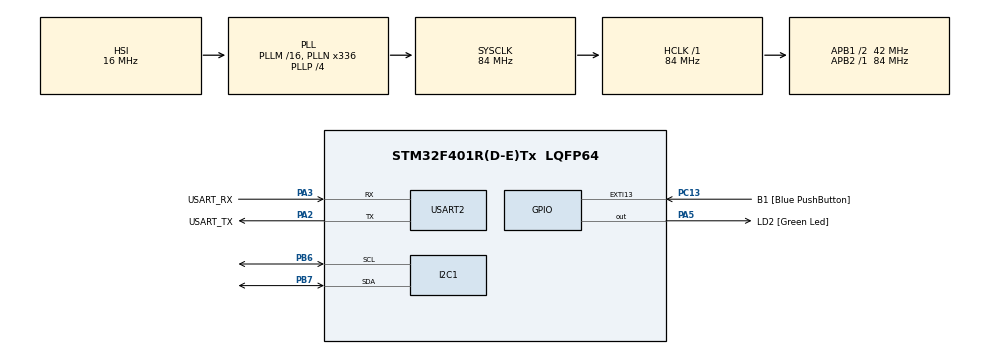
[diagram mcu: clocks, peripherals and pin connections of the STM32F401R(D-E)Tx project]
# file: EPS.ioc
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Mcu.Family=STM32F4
Mcu.Name=STM32F401R(D-E)Tx
Mcu.Package=LQFP64
NVIC.PriorityGroup=NVIC_PRIORITYGROUP_0
PA13.GPIO_Label=TMS
PA13.Signal=SYS_JTMS-SWDIO
PA14.GPIO_Label=TCK
PA14.Signal=SYS_JTCK-SWCLK
PA2.GPIO_Label=USART_TX
PA2.GPIO_Mode=GPIO_MODE_AF_PP
PA2.GPIO_PuPd=GPIO_NOPULL
PA2.GPIO_Speed=GPIO_SPEED_FREQ_LOW
PA2.Mode=Asynchronous
PA2.Signal=USART2_TX
PA3.GPIO_Label=USART_RX
PA3.GPIO_Mode=GPIO_MODE_AF_PP
PA3.GPIO_PuPd=GPIO_NOPULL
PA3.GPIO_Speed=GPIO_SPEED_FREQ_LOW
PA3.Mode=Asynchronous
PA3.Signal=USART2_RX
PA5.GPIO_Label=LD2 [Green Led]
PA5.GPIO_Mode=GPIO_MODE_OUTPUT_PP
PA5.GPIO_PuPd=GPIO_NOPULL
PA5.GPIO_Speed=GPIO_SPEED_FREQ_LOW
PA5.Signal=GPIO_Output
PB3.GPIO_Label=SWO
PB3.Signal=SYS_JTDO-SWO
PB6.Mode=I2C
PB6.Signal=I2C1_SCL
PB7.Mode=I2C
PB7.Signal=I2C1_SDA
PC13-ANTI_TAMP.GPIO_Label=B1 [Blue PushButton]
PC13-ANTI_TAMP.GPIO_ModeDefaultEXTI=GPIO_MODE_IT_FALLING
PC13-ANTI_TAMP.GPIO_PuPd=GPIO_NOPULL
PC13-ANTI_TAMP.Signal=GPXTI13
PC14-OSC32_IN.Signal=RCC_OSC32_IN
PC15-OSC32_OUT.Signal=RCC_OSC32_OUT
PH0\ -\ OSC_IN.Signal=RCC_OSC_IN
PH1\ -\ OSC_OUT.Signal=RCC_OSC_OUT
ProjectManager.HeapSize=0x200
ProjectManager.StackSize=0x400
ProjectManager.TargetToolchain=SW4STM32
RCC.AHBFreq_Value=84000000
RCC.APB1CLKDivider=RCC_HCLK_DIV2
RCC.APB1Freq_Value=42000000
RCC.APB1TimFreq_Value=84000000
RCC.APB2Freq_Value=84000000
RCC.APB2TimFreq_Value=84000000
RCC.CortexFreq_Value=84000000
RCC.HCLKFreq_Value=84000000
RCC.HSE_VALUE=8000000
RCC.HSI_VALUE=16000000
RCC.LSE_VALUE=32768
RCC.PLLN=336
RCC.PLLP=RCC_PLLP_DIV4
RCC.PLLQ=7
RCC.SYSCLKFreq_VALUE=84000000
RCC.SYSCLKSource=RCC_SYSCLKSOURCE_PLLCLK
RCC.VCOOutputFreq_Value=336000000
USART2.VirtualMode=VM_ASYNC
board=NUCLEO-F401RE

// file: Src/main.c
/**
  ******************************************************************************
  * File Name          : main.c
  * Description        : Main program body
  ******************************************************************************
  ** This notice applies to any and all portions of this file
  * that are not between comment pairs USER CODE BEGIN and
  * USER CODE END. Other portions of this file, whether
  * inserted by the user or by software development tools
  * are owned by their respective copyright owners.
  *
  * COPYRIGHT(c) 2018 STMicroelectronics
  *
  * Redistribution and use in source and binary forms, with or without modification,
  * are permitted provided that the following conditions are met:
  *   1. Redistributions of source code must retain the above copyright notice,
  *      this list of conditions and the following disclaimer.
  *   2. Redistributions in binary form must reproduce the above copyright notice,
  *      this list of conditions and the following disclaimer in the documentation
  *      and/or other materials provided with the distribution.
  *   3. Neither the name of STMicroelectronics nor the names of its contributors
  *      may be used to endorse or promote products derived from this software
  *      without specific prior written permission.
  *
  * THIS SOFTWARE IS PROVIDED BY THE COPYRIGHT HOLDERS AND CONTRIBUTORS "AS IS"
  * AND ANY EXPRESS OR IMPLIED WARRANTIES, INCLUDING, BUT NOT LIMITED TO, THE
  * IMPLIED WARRANTIES OF MERCHANTABILITY AND FITNESS FOR A PARTICULAR PURPOSE ARE
  * DISCLAIMED. IN NO EVENT SHALL THE COPYRIGHT HOLDER OR CONTRIBUTORS BE LIABLE
  * FOR ANY DIRECT, INDIRECT, INCIDENTAL, SPECIAL, EXEMPLARY, OR CONSEQUENTIAL
  * DAMAGES (INCLUDING, BUT NOT LIMITED TO, PROCUREMENT OF SUBSTITUTE GOODS OR
  * SERVICES; LOSS OF USE, DATA, OR PROFITS; OR BUSINESS INTERRUPTION) HOWEVER
  * CAUSED AND ON ANY THEORY OF LIABILITY, WHETHER IN CONTRACT, STRICT LIABILITY,
  * OR TORT (INCLUDING NEGLIGENCE OR OTHERWISE) ARISING IN ANY WAY OUT OF THE USE
  * OF THIS SOFTWARE, EVEN IF ADVISED OF THE POSSIBILITY OF SUCH DAMAGE.
  *
  ******************************************************************************
  */

#include "main.h"
#include "stm32f4xx_hal.h"

I2C_HandleTypeDef hi2c1;

UART_HandleTypeDef huart2;

/* USER CODE BEGIN PV */
/* Private variables ---------------------------------------------------------*/

//I2C Addresses for EPS and Battery
#define EPS_ADDRESS 0x2B
#define BAT_ADDRESS 0x54

//Common Commands
#define DEFAULT_DATA 0x00
#define GET_STATUS 0x01
#define GET_ERROR 0x03
#define GET_VERSION 0x04
#define GET_CHECKSUM 0x05
#define GET_TELEMETRY 0x10
#define GET_BROWNOUT_RESETS 0x31
#define GET_AUTO_SOFTWARE_RESETS 0x32
#define GET_MANUAL_RESETS 0x33
#define MANUAL_RESET 0x80

//EPS Commands
#define EPS_GET_WATCHDOG_PERIOD 0x20
#define EPS_SET_WATCHDOG_PERIOD 0x21
#define EPS_RESET_WATCHDOG 0x22
#define EPS_GET_WATCHDOG_RESETS 0x34
#define EPS_ALLPDM_ON 0x40
#define EPS_ALLPDM_OFF 0x41
#define EPS_GET_ALLPDM_STATE 0x42
#define EPS_GET_ALLPDM_INITIAL_STATE 0x44
#define EPS_SET_ALLPDM_TO_INITIAL_STATE 0x45
#define EPS_SET_PDM_ON 0x50
#define EPS_SET_PDM_OFF 0x51
#define EPS_SET_PDM_INITIAL_STATE_ON 0x52
#define EPS_SET_PDM_INITIAL_STATE_OFF 0x53
#define EPS_GET_PDM_STATUS 0x54
#define EPS_PCM_RESET 0x70

//EPS Get Telemetry Commands
#define I_IDIODE 0xE284
#define V_IDIODE 0xE280
#define I_3V3_DRW 0xE205
#define I_5V_DRW 0xE215
#define I_PCM12V 0xE234
#define V_PCM12V 0xE230
#define I_PCMBATV 0xE224
#define V_PCMBATV 0xE220
#define I_PCM5V 0xE214
#define V_PCM5V 0xE210
#define I_PCM3V3 0xE204
#define V_PCM3V3 0xE200

#define V_SW1 0xE410
#define I_SW1 0xE414
#define V_SW2 0xE420
#define I_SW2 0xE424
#define V_SW3 0xE430
#define I_SW3 0xE434
#define V_SW4 0xE440
#define I_SW4 0xE444
#define V_SW5 0xE440
#define I_SW5 0xE454
#define V_SW6 0xE460
#define I_SW6 0xE464
#define V_SW7 0xE470
#define I_SW7 0xE474
#define V_SW8 0xE480
#define I_SW8 0xE484
#define V_SW9 0xE490
#define I_SW9 0xE494
#define V_SW10 0xE4A0
#define I_SW10 0xE4A4
#define MBRD_TEMP 0xE308

#define V_BCR1 0xE110
#define I_BCR1A 0xE114
#define I_BCR1B 0xE115
#define BCR1A_TEMP 0xE118
#define BCR1B_TEMP 0xE119
#define BCR1A_SUN_DETECT 0xE11C
#define BCR1B_SUN_DETECT 0xE11D

#define V_BCR2 0xE120
#define I_BCR2A 0xE124
#define I_BCR2B 0xE125
#define BCR2A_TEMP 0xE128
#define BCR2B_TEMP 0xE129
#define BCR2A_SUN_DETECT 0xE12C
#define BCR2B_SUN_DETECT 0xE12D

#define V_BCR3 0xE130
#define I_BCR3A 0xE134
#define I_BCR3B 0xE135
#define BCR3A_TEMP 0xE138
#define BCR3B_TEMP 0xE139
#define BCR3A_SUN_DETECT 0xE13C
#define BCR3B_SUN_DETECT 0xE13D

//BAT Commands
#define BAT_GET_HEATER_CONTROLLER_STATUS 0x90
#define BAT_SET_HEATER_CONTROLLER_STATUS 0x91
#define HEATER_OFF 0x00
#define HEATER_ON 0x01

//BAT Telemetry Commands
#define V_BAT 0xE280
#define I_BAT 0xE284
#define I_DIR_BAT 0xE28E
#define MBRD_TMP 0xE308
#define I_PCM5V 0xE214
#define V_PCM5V 0xE210
#define I_PCM3V3 0xE204
#define V_PCM3V3 0xE200
#define DBAT1_TEMP 0xE398
#define DBAT1_HEATER_STATUS 0xE239F
#define DBAT2_TEMP 0xE3A8
#define DBAT2_HEATER_STATUS 0xE3AF
#define DBAT3_TEMP 0xE3B8
#define DBAT3_HEATER_STATUS 0xE3CF

/* USER CODE END PV */

void SystemClock_Config(void);
static void MX_GPIO_Init(void);
static void MX_USART2_UART_Init(void);
static void MX_I2C1_Init(void);

/* USER CODE BEGIN PFP */
/* Private function prototypes -----------------------------------------------*/
void getStatus(uint8_t address, uint8_t data_received[]);
void sendCommand(uint8_t address, uint8_t command, uint8_t data_sent, uint8_t data_received[], uint8_t bytes_received, int delay);
void getError(uint8_t address, uint8_t data_received[]);
void getTelemetry(uint8_t address, uint8_t data1, uint8_t data0, uint8_t data_received[], uint8_t bytes_received);
void manualReset(uint8_t address);
void convertCommand(uint16_t to_convert, uint8_t converted[]);
double convertEPSADC(uint8_t ADCdata[], uint16_t telem_code);
double convertBATADC(uint8_t ADCdata[], uint16_t telem_code);

/* USER CODE END PFP */

int main(void)
{

  /* MCU Configuration----------------------------------------------------------*/

  /* Reset of all peripherals, Initializes the Flash interface and the Systick. */
  HAL_Init();

  /* Configure the system clock */
  SystemClock_Config();

  /* Initialize all configured peripherals */
  MX_GPIO_Init();
  MX_USART2_UART_Init();
  MX_I2C1_Init();

  /* Infinite loop */
  while (1)
  {

  /* USER CODE BEGIN 3 */

	  uint8_t returnData[4] = {0,0,0,0};
	  uint8_t data1 = 0;
	  uint8_t data0 = 0;
	  uint8_t command = 0;
	  uint8_t select = 0;
	  uint16_t address= 0 ;
	  uint8_t returnBytes = 0;
	  uint8_t delay = 0;

	  while(HAL_UART_Receive(&huart2, (uint8_t*)&select, 1, 50) != HAL_OK);
	  HAL_UART_Transmit(&huart2, (uint8_t*)&select, 1, 50);
	  while(HAL_UART_Receive(&huart2,(uint8_t *)&address, 2, 50) != HAL_OK);
	  HAL_UART_Transmit(&huart2, (uint8_t *)&address, 2, 50);
	  //Read Select and Address

	  if (select == 's'){
		  getStatus(address, returnData);
		  /*
		  Testing code
		  uint8_t data0 = 0x10;
		  uint8_t data1 = 0xE2;
		  uint8_t data2= 0x80;
		  HAL_I2C_Master_Transmit(&hi2c1, 0x54, (uint8_t*)&data0, 1, 50);
		  HAL_I2C_Master_Transmit(&hi2c1, 0x54, (uint8_t*)&data1, 1, 50);
		  HAL_I2C_Master_Transmit(&hi2c1, 0x54, (uint8_t*)&data2, 1, 50);
		  HAL_Delay(15);

		  HAL_I2C_Master_Receive(&hi2c1, 0x54, returnData, 2, 50);
		  uint16_t received = (uint16_t)((returnData[0] + (returnData[1]*256))* 0.008993);
		  uint8_t send= 0b01000010;
		  HAL_UART_Transmit(&huart2, (uint8_t*)&send, 1, 50);
		   */
	  }

	  else if (select == 'e'){

		  getError(address,returnData);

	  }

	  else if (select == 'r'){

		  manualReset(address);
	  }

	  else if (select == 't'){

		  while(HAL_UART_Receive(&huart2, (uint8_t*)&data1, 1, 50) != HAL_OK);
		  HAL_UART_Transmit(&huart2, (uint8_t*)&data1, 1, 50);
		  while(HAL_UART_Receive(&huart2,(uint8_t *)&data0, 1, 50) != HAL_OK);
		  HAL_UART_Transmit(&huart2, (uint8_t *)&data0, 1, 50);

		  //Read command,data1,data0,returnbytes,delay
		  uint16_t convertedADC;

		  getTelemetry(address,data1,data0,returnData,2);

		  if (address == EPS_ADDRESS){
			  //convertedADC = convertEPSADC(returnData,data1,data0);
		  }
		  else if (address == BAT_ADDRESS) {
			 // convertedADC = convertBATADC(returnData,data1,data0);
		  }

		  HAL_UART_Transmit(&huart2, (uint8_t *)&convertedADC, 2, 50);
	  }

	  else if (select == 'c'){
		  // Read command,data1,returnbytes,delay
		  while(HAL_UART_Receive(&huart2, (uint8_t*)&data1, 2, 50) != HAL_OK);
		  HAL_UART_Transmit(&huart2, (uint8_t*)&data1, 2, 50);
		  while(HAL_UART_Receive(&huart2,(uint8_t *)&returnBytes, 2, 50) != HAL_OK);
		  HAL_UART_Transmit(&huart2, (uint8_t *)&returnBytes, 2, 50);
		  while(HAL_UART_Receive(&huart2,(uint8_t *)&delay, 4, 50) != HAL_OK);
		  HAL_UART_Transmit(&huart2, (uint8_t *)&delay, 4, 50);

		  sendCommand(address,command,data1,returnData,returnBytes,delay);

	  }
	  else if (select == 'p'){
		  // Read Timer Limit and PDM

	  }

	  else {
		  // command not recognized
	  }
  }
  /* USER CODE END 3 */

}

/** System Clock Configuration
*/
void SystemClock_Config(void)
{
  RCC_OscInitTypeDef RCC_OscInitStruct;
  RCC_ClkInitTypeDef RCC_ClkInitStruct;

    /**Configure the main internal regulator output voltage
    */
  __HAL_RCC_PWR_CLK_ENABLE();

  __HAL_PWR_VOLTAGESCALING_CONFIG(PWR_REGULATOR_VOLTAGE_SCALE2);

    /**Initializes the CPU, AHB and APB busses clocks
    */
  RCC_OscInitStruct.OscillatorType = RCC_OSCILLATORTYPE_HSI;
  RCC_OscInitStruct.HSIState = RCC_HSI_ON;
  RCC_OscInitStruct.HSICalibrationValue = 16;
  RCC_OscInitStruct.PLL.PLLState = RCC_PLL_ON;
  RCC_OscInitStruct.PLL.PLLSource = RCC_PLLSOURCE_HSI;
  RCC_OscInitStruct.PLL.PLLM = 16;
  RCC_OscInitStruct.PLL.PLLN = 336;
  RCC_OscInitStruct.PLL.PLLP = RCC_PLLP_DIV4;
  RCC_OscInitStruct.PLL.PLLQ = 7;
  if (HAL_RCC_OscConfig(&RCC_OscInitStruct) != HAL_OK)
  {
    _Error_Handler(__FILE__, __LINE__);
  }

    /**Initializes the CPU, AHB and APB busses clocks     */
  RCC_ClkInitStruct.ClockType = RCC_CLOCKTYPE_HCLK|RCC_CLOCKTYPE_SYSCLK
                              |RCC_CLOCKTYPE_PCLK1|RCC_CLOCKTYPE_PCLK2;
  RCC_ClkInitStruct.SYSCLKSource = RCC_SYSCLKSOURCE_PLLCLK;
  RCC_ClkInitStruct.AHBCLKDivider = RCC_SYSCLK_DIV1;
  RCC_ClkInitStruct.APB1CLKDivider = RCC_HCLK_DIV2;
  RCC_ClkInitStruct.APB2CLKDivider = RCC_HCLK_DIV1;

  if (HAL_RCC_ClockConfig(&RCC_ClkInitStruct, FLASH_LATENCY_2) != HAL_OK)
  {
    _Error_Handler(__FILE__, __LINE__);
  }

    /**Configure the Systick interrupt time
    */
  HAL_SYSTICK_Config(HAL_RCC_GetHCLKFreq()/1000);

    /**Configure the Systick
    */
  HAL_SYSTICK_CLKSourceConfig(SYSTICK_CLKSOURCE_HCLK);

  /* SysTick_IRQn interrupt configuration */
  HAL_NVIC_SetPriority(SysTick_IRQn, 0, 0);
}

/* I2C1 init function */
static void MX_I2C1_Init(void)
{

  hi2c1.Instance = I2C1;
  hi2c1.Init.ClockSpeed = 100000;
  hi2c1.Init.DutyCycle = I2C_DUTYCYCLE_2;
  hi2c1.Init.OwnAddress1 = 0;
  hi2c1.Init.AddressingMode = I2C_ADDRESSINGMODE_7BIT;
  hi2c1.Init.DualAddressMode = I2C_DUALADDRESS_DISABLE;
  hi2c1.Init.OwnAddress2 = 0;
  hi2c1.Init.GeneralCallMode = I2C_GENERALCALL_DISABLE;
  hi2c1.Init.NoStretchMode = I2C_NOSTRETCH_DISABLE;
  if (HAL_I2C_Init(&hi2c1) != HAL_OK)
  {
    _Error_Handler(__FILE__, __LINE__);
  }

}

/* USART2 init function */
static void MX_USART2_UART_Init(void)
{

  huart2.Instance = USART2;
  huart2.Init.BaudRate = 115200;
  huart2.Init.WordLength = UART_WORDLENGTH_8B;
  huart2.Init.StopBits = UART_STOPBITS_1;
  huart2.Init.Parity = UART_PARITY_NONE;
  huart2.Init.Mode = UART_MODE_TX_RX;
  huart2.Init.HwFlowCtl = UART_HWCONTROL_NONE;
  huart2.Init.OverSampling = UART_OVERSAMPLING_16;
  if (HAL_UART_Init(&huart2) != HAL_OK)
  {
    _Error_Handler(__FILE__, __LINE__);
  }

}

/** Configure pins as
        * Analog
        * Input
        * Output
        * EVENT_OUT
        * EXTI
*/
static void MX_GPIO_Init(void)
{

  GPIO_InitTypeDef GPIO_InitStruct;

  /* GPIO Ports Clock Enable */
  __HAL_RCC_GPIOC_CLK_ENABLE();
  __HAL_RCC_GPIOH_CLK_ENABLE();
  __HAL_RCC_GPIOA_CLK_ENABLE();
  __HAL_RCC_GPIOB_CLK_ENABLE();

  /*Configure GPIO pin Output Level */
  HAL_GPIO_WritePin(LD2_GPIO_Port, LD2_Pin, GPIO_PIN_RESET);

  /*Configure GPIO pin : B1_Pin */
  GPIO_InitStruct.Pin = B1_Pin;
  GPIO_InitStruct.Mode = GPIO_MODE_IT_FALLING;
  GPIO_InitStruct.Pull = GPIO_NOPULL;
  HAL_GPIO_Init(B1_GPIO_Port, &GPIO_InitStruct);

  /*Configure GPIO pin : LD2_Pin */
  GPIO_InitStruct.Pin = LD2_Pin;
  GPIO_InitStruct.Mode = GPIO_MODE_OUTPUT_PP;
  GPIO_InitStruct.Pull = GPIO_NOPULL;
  GPIO_InitStruct.Speed = GPIO_SPEED_FREQ_LOW;
  HAL_GPIO_Init(LD2_GPIO_Port, &GPIO_InitStruct);

}

/* USER CODE BEGIN 4 */

/*
 * 	Purpose:
 * 	This function will get the current status of either the EPS or Battery module
 *
 *	Reference:
 *	Section 12.4.1 for Battery, 11.3 for EPS
 *
 * 	Parameters:
 * 		address - target address (either EPS or Battery)
 * 		data_received - array to hold received bytes
 */
void getStatus(uint8_t address, uint8_t data_received[]) {
	uint8_t command = GET_STATUS;
	uint8_t data1 = DEFAULT_DATA;

	while(HAL_I2C_Master_Transmit(&hi2c1, (uint16_t) address<<1, (uint8_t*)&command, 1, 50) != HAL_OK);
	while(HAL_I2C_Master_Transmit(&hi2c1, (uint16_t) address<<1, (uint8_t*)&data1, 1, 50) != HAL_OK);
	HAL_Delay(1);

	while(HAL_I2C_Master_Receive(&hi2c1, (uint16_t) (address<<1) | 0x01, data_received, 2, 50) != HAL_OK);
}

/*
 * 	Purpose:
 *	This function will send a command to either the EPS or Battery module to request data
 *
 *	Reference:
 * 	Section 12 for Battery, 11 for EPS
 *
 *	Parameters:
 *		address : target address (either EPS or Battery)
 *		command : request command to send
 *		data_sent : additional data byte to be sent along with the command
 *		data_received : array to hold received bytes
 *		bytes_received: number of bytes to request from the module
 *		delay: delay required before a response can be requested, in milliseconds
 */
void sendCommand(uint8_t address, uint8_t command, uint8_t data_sent, uint8_t data_received[], uint8_t bytes_received, int delay){
	while( HAL_I2C_Master_Transmit(&hi2c1, (uint16_t) address<<1, (uint8_t*) &command, 1, 50) != HAL_OK );
	while( HAL_I2C_Master_Transmit(&hi2c1, (uint16_t) address<<1, (uint8_t*) &data_sent, 1, 50) != HAL_OK );

	HAL_Delay(delay);

	if(bytes_received != 0){
		while( HAL_I2C_Master_Receive(&hi2c1, (uint16_t) (address<<1) | 0x01, data_received, (uint16_t) bytes_received, 50) != HAL_OK);
	}
}

/*
 * 	Purpose:
 * 	This function will get the last error message of either the EPS or Batt module
 *
 * 	Reference:
 * 	Section 12.4.2 for Battery, 11.3 for EPS.
 *
 * 	Parameters:
 * 		address - target address (either EPS or Battery)
 * 		data_received - array to hold received bytes
 */
void getError(uint8_t address, uint8_t data_received[]) {
	uint8_t command = GET_ERROR;
	uint8_t data1 = DEFAULT_DATA;

	while( HAL_I2C_Master_Transmit(&hi2c1,  (uint16_t) address<<1, (uint8_t*)&command, 2, 50) != HAL_OK );
	while( HAL_I2C_Master_Transmit(&hi2c1,  (uint16_t) address<<1, (uint8_t*)&data1, 2, 50) != HAL_OK );

	HAL_Delay(1);

	while( HAL_I2C_Master_Receive(&hi2c1,  (uint16_t) (address<<1) | 0x01, data_received, (uint16_t) 2, (uint32_t) 50) != HAL_OK);
}

/* 	Purpose:
 * 	This function will retrieve a specific piece of telemetry information for either the battery or EPS module
 *
 * 	Reference:
 * 	Section 12.6 for Battery, 11.4 for EPS
 *
 * 	Parameters:
 * 		address: target address (either EPS or Battery)
 * 		command: telemetry request command (0x10)
 * 		data1: first telemetry code to send
 * 		data0: second telemetry code to send
 * 		data_received: array to hold received bytes
 * 		bytes_received: number of bytes to request from the module
 */
void getTelemetry(uint8_t address, uint8_t data1, uint8_t data0, uint8_t data_received[], uint8_t bytes_received){
	uint8_t command = GET_TELEMETRY;

	while( HAL_I2C_Master_Transmit(&hi2c1,  (uint16_t) address<<1, (uint8_t*)&command, 1, 50) != HAL_OK );
	while( HAL_I2C_Master_Transmit(&hi2c1,  (uint16_t) address<<1, (uint8_t*)&data1, 1,  50) != HAL_OK );
	while( HAL_I2C_Master_Transmit(&hi2c1,  (uint16_t) address<<1, (uint8_t*)&data0, 1, 50) != HAL_OK );
	HAL_Delay(15);

	if(bytes_received != 0){
		while( HAL_I2C_Master_Receive(&hi2c1,  (uint16_t) (address<<1) | 0x01, data_received, (uint16_t)bytes_received, 50) != HAL_OK);
	}
}

/*
 * 	Purpose:
 * 	This function will manually reset either the EPS or Batt module
 *
 * 	Reference:
 * 	Section 12.4.5 for Battery, 11.3 for EPS
 *
 * 	Parameters:
 * 		address - the target I2C Address. Either EPS or Batt in this case
 */
void manualReset(uint8_t address){
	uint8_t command = MANUAL_RESET;
	uint8_t data0 = DEFAULT_DATA;

	while( HAL_I2C_Master_Transmit(&hi2c1, (uint16_t) address<<1, (uint8_t*)&command, 2, 50) != HAL_OK );
	while( HAL_I2C_Master_Transmit(&hi2c1, (uint16_t) address<<1, (uint8_t*)&data0, 2, 50) != HAL_OK );
}

/*
 * 	Purpose:
 * 	Converts raw ADC values into proper values through equations found on battery datasheet
 *
 * 	Parameters:
 * 		ADCdata: - raw ADC value given from the EPS or BAT module
 * 		telem_code - two byte integer representing which telemetry was gathered
 *
 * 	Return:
 * 		converted: The converted ADC value
 */
double convertBATADC(uint8_t ADCdata[], uint16_t telem_code) {
	uint16_t adcResponse = (uint16_t)ADCdata[0] + ((uint16_t)ADCdata[1] * 256);
	double converted = 0.0;

	switch (telem_code) {
		case 0xE280: //battery output voltage
	      converted = adcResponse * 0.008993;
	      break;
	    case 0xE284: //battery current magnitude
	      converted = adcResponse * 14.662757;
	      break;
	    case 0xE28E: //battery current direction
	      if (adcResponse < 512)
	        converted = 1.0;
	      else
	        converted = 0.0;
	      break;
	    case 0xE308: //motherboard temperature
	      converted = 0.372434 * adcResponse - 273.15;
	      break;
	    case 0xE214: //current draw of 5V bus
	      converted = 1.327547 * adcResponse;
	      break;
	    case 0xE210: //output voltage of 5V bus
	      converted = 0.005965 * adcResponse;
	      break;
	    case 0xE204: //current draw of 3.3V bus
	      converted = 1.327547 * adcResponse;
	      break;
	    case 0xE200: //output voltage of 3.3V bus
	      converted = 0.004311 * adcResponse;
	      break;
	    case 0xE398: //daughterboard 1 temperature
	      converted = 0.397600 * adcResponse - 238.57;
	      break;
	    case 0xE39F: //daughterboard 1 heater status
	      if (adcResponse < 512)
	        converted = 1.0;
	      else
	        converted = 0.0;
	      break;
	    case 0xE3A8: //daughterboard 2 temperature
	      converted = 0.397600 * adcResponse - 238.57;
	      break;
	    case 0xE3AF: //daughterboard 2 heater status
	      if (adcResponse < 512)
	        converted = 1.0;
	      else
	        converted = 0.0;
	      break;
	    case 0xE3B8: //daughterboard 3 temperature
	      converted = 0.397600 * adcResponse - 238.57;
	      break;
	    case 0xE3BF: //daughterboard 3 heater status
	      if (adcResponse < 512)
	        converted = 1.0;
	      else
	        converted = 0.0;
	      break;
	    default:
	      converted = 0.0;
	      break;
	}

	return converted;
}

/*
 * 	Purpose:
 * 	Converts raw ADC values into proper values through equations found on EPS datasheet
 *
 * 	Parameters:
 * 		ADCdata: - raw ADC value given from the EPS or BAT module
 * 		telem_code - two byte integer representing which telemetry was gathered
 *
 * 	Return:
 * 		converted: The converted ADC value
 */
double convertEPSADC(uint8_t ADCdata[], uint16_t telem_code){
	uint16_t adcResponse = (uint16_t)ADCdata[0] + ((uint16_t)ADCdata[1] * 256);
	double converted = 0;

	switch (telem_code) {
		case 0xE284: //BCR output current
	      converted = 14.662757 * adcResponse;
	      break;
	    case 0xE280: //BCR output voltage
	      converted = 0.008993157 * adcResponse;
	      break;
	    case 0xE205: //3.3V current draw
	      converted = 0.001327547 * adcResponse;
	      break;
	    case 0xE215: //5V current draw
	      converted = 0.001327547 * adcResponse;
	      break;
	    case 0xE234: //output current of 12V bus
	      converted = 0.00207 * adcResponse;
	      break;
	    case 0xE230: //output voltage of 12V bus
	      converted = 0.01349 * adcResponse;
	      break;
	    case 0xE224: //output current of battery bus
	      converted = 0.005237 * adcResponse;
	      break;
	    case 0xE220: //output voltage of battery bus
	      converted = 0.008978 * adcResponse;
	      break;
	    case 0xE214: //output current of 5V bus
	      converted = 0.005237 * adcResponse;
	      break;
	    case 0xE210: //output voltage of 5V bus
	      converted = 0.005865 * adcResponse;
	      break;
	    case 0xE204: //output current of 3.3V bus
	      converted = 0.005237 * adcResponse;
	      break;
	    case 0xE200: //output voltage of 3.3V bus
	      converted = 0.004311 * adcResponse;
	      break;
	    case 0xE410: //output voltage switch 1
	      converted = 0.01349 * adcResponse;
	      break;
	    case 0xE414: //output current switch 1
	      converted = 0.001328 * adcResponse;
	      break;
	    case 0xE420: //output voltage switch 2
	      converted = 0.01349 * adcResponse;
	      break;
	    case 0xE424: //output current switch 2
	      converted = 0.001328 * adcResponse;
	      break;
	    case 0xE430: //output voltage switch 3
	      converted = 0.008993 * adcResponse;
	      break;
	    case 0xE434: //output current switch 3
	      converted = 0.001328 * adcResponse;
	      break;
	    case 0xE440: //output voltage switch 4
	      converted = 0.008993 * adcResponse;
	      break;
	    case 0xE444: //output current switch 4
	      converted = 0.001328 * adcResponse;
	      break;
	    case 0xE450: //output voltage switch 5
	      converted = 0.005865 * adcResponse;
	      break;
	    case 0xE454: //output current switch 5
	      converted = 0.001328 * adcResponse;
	      break;
	    case 0xE460: //output voltage switch 6
	      converted = 0.005865 * adcResponse;
	      break;
	    case 0xE464: //output current switch 6
	      converted = 0.001328 * adcResponse;
	      break;
	    case 0xE470: //output voltage switch 7
	      converted = 0.005865 * adcResponse;
	      break;
	    case 0xE474: //output current switch 7
	      converted = 0.001328 * adcResponse;
	      break;
	    case 0xE480: //output voltage switch 8
	      converted = 0.004311 * adcResponse;
	      break;
	    case 0xE484: //output current switch 8
	      converted = 0.001328 * adcResponse;
	      break;
	    case 0xE490: //output voltage switch 9
	      converted = 0.004311 * adcResponse;
	      break;
	    case 0xE494: //output current switch 9
	      converted = 0.001328 * adcResponse;
	      break;
	    case 0xE4A0: //output voltage switch 10
	      converted = 0.004311 * adcResponse;
	      break;
	    case 0xE4A4: //output current switch 10
	      converted = 0.001328 * adcResponse;
	      break;
	    case 0xE308: //motherboard temperature
	      converted = 0.372434 * adcResponse - 273.15;
	      break;
	    case 0xE110: //voltage feeding BCR1
	      converted = 0.0249 * adcResponse;
	      break;
	    case 0xE114: //current BCR1, connector SA1A
	      converted = 0.0009775 * adcResponse;
	      break;
	    case 0xE115: //current BCR1, connector SA1B
	      converted = 0.0009775 * adcResponse;
	      break;
	    case 0xE120: //voltage feeding BCR2
	      converted = 0.0249 * adcResponse;
	      break;
	    case 0xE124: //current BCR2, connector SA2A
	      converted = 0.0009775 * adcResponse;
	      break;
	    case 0xE125: //current BCR2, connector SA2B
	      converted = 0.0009775 * adcResponse;
	      break;
	    case 0xE130: //voltage feeding BCR3
	      converted = 0.0099706 * adcResponse;
	      break;
	    case 0xE134: //current BCR3, connector SA3A
	      converted = 0.0009775 * adcResponse;
	      break;
	    case 0xE135: //current BCR3, connector SA3B
	      converted = 0.0009775 * adcResponse;
	      break;
	    default:
	      converted = 0.0;
	      break;
	}
	return converted;
}

/*
 * 	Purpose:
 * 	Take in a two byte integer and convert it to two one byte integers.
 *
 * 	Parameters:
 * 		to_convert - two byte integer to convert
 * 		converted - points to the now split two byte integer,
 * 					the first integer is data0, the second is data1
 */
void convertCommand(uint16_t to_convert, uint8_t converted[]) {
	converted[0] = to_convert & 0xFF;
	converted[1] = (to_convert>>8) & 0xFF;
}

/* USER CODE END 4 */

void _Error_Handler(char * file, int line)
{
  while(1)
  {
  }
}

/************************ (C) COPYRIGHT STMicroelectronics *****END OF FILE****/
